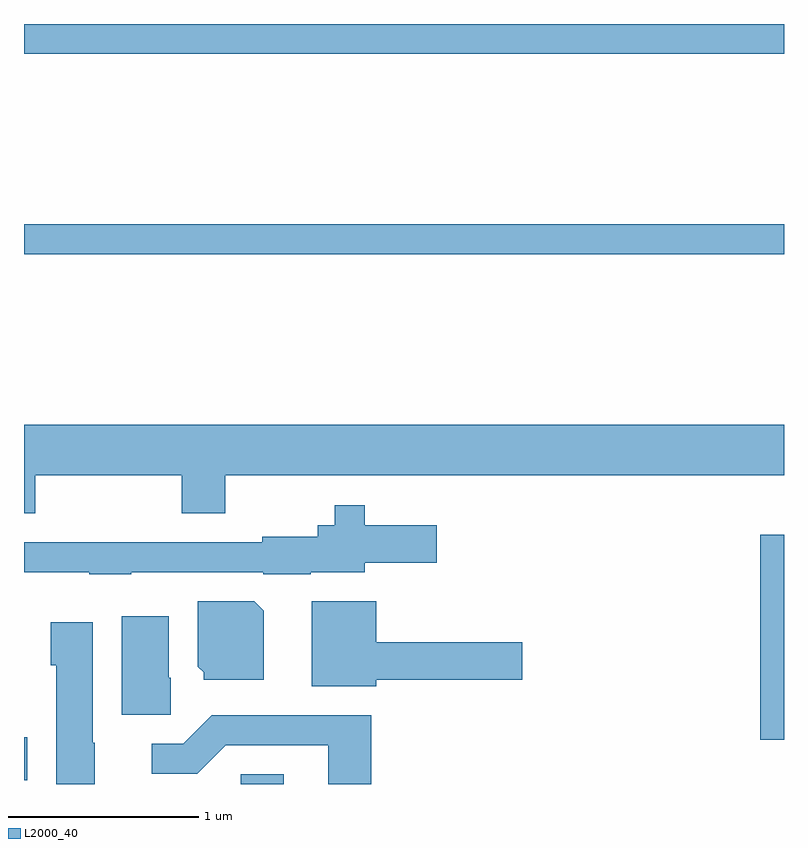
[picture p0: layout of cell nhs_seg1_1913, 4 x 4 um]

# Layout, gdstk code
import gdstk
lib = gdstk.Library(unit=1e-6, precision=1e-09)
def R(c, l, rs):  # rectangles x0, y0, x1, y1
    for r in rs: c.add(gdstk.rectangle(r[:2], r[2:], *l))
def P(c, l, *ps):  # polygons
    for p in ps: c.add(gdstk.Polygon(p, *l))
L2000_40 = (2000, 40)

nhs_seg1_1913 = lib.new_cell('nhs_seg1_1913')
R(nhs_seg1_1913, L2000_40, [(244.751,915.712,244.979,915.764), (243.611,915.731,243.629,915.959), (247.486,915.946,247.611,917.024), (243.611,918.501,247.611,918.659), (243.611,919.556,247.611,919.712)])
P(nhs_seg1_1913, L2000_40, [(243.669,917.336),(244.441,917.336),(244.441,917.136),(244.669,917.136),(244.669,917.336),(247.611,917.336),(247.611,917.604),(243.611,917.604),(243.611,917.136),(243.669,917.136)],
  [(244.175,916.826),(244.87,916.826),(244.87,916.816),(245.12,916.816),(245.12,916.826),(245.404,916.826),(245.404,916.876),(245.784,916.876),(245.784,917.074),(245.404,917.074),(245.404,917.179),(245.246,917.179),(245.246,917.074),(245.156,917.074),(245.156,917.014),(244.866,917.014),(244.866,916.984),(243.611,916.984),(243.611,916.826),(243.955,916.826),(243.955,916.816),(244.175,916.816)],
  [(244.874,916.624),(244.824,916.674),(244.526,916.674),(244.526,916.329),(244.556,916.299),(244.556,916.261),(244.874,916.261)],
  [(245.464,916.261),(246.234,916.261),(246.234,916.459),(245.464,916.459),(245.464,916.674),(245.126,916.674),(245.126,916.226),(245.464,916.226)],
  [(244.384,916.27),(244.374,916.27),(244.374,916.594),(244.126,916.594),(244.126,916.076),(244.384,916.076)],
  [(243.984,915.93),(243.974,915.93),(243.974,916.564),(243.751,916.564),(243.751,916.336),(243.781,916.336),(243.781,915.712),(243.984,915.712)],
  [(245.439,916.074),(244.599,916.074),(244.449,915.924),(244.283,915.924),(244.283,915.766),(244.522,915.766),(244.672,915.916),(245.211,915.916),(245.211,915.712),(245.439,915.712)])

lib.write_gds('nhs_seg1_1913.gds')
